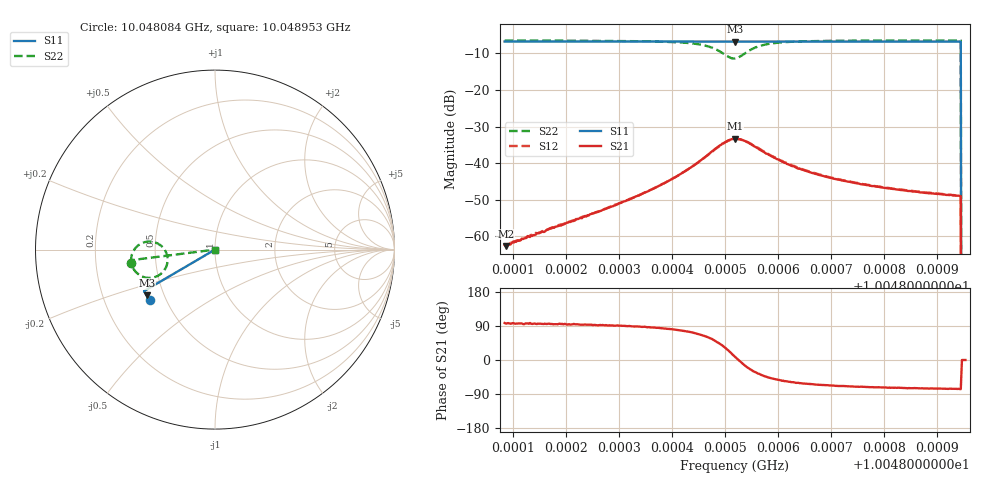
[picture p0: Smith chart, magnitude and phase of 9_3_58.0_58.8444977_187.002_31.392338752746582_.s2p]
#  HZ  S  RI  R  50.00
! Rohde & Schwarz Vector Network Analyzer
! Rohde-Schwarz,ZNB20-2Port,1311601062101988,3.16
! Created: UTC 3/21/2024, 12:50:43 AM
! freq[Hz]  re:S11  im:S11  re:S21  im:S21  re:S12  im:S12  re:S22  im:S22
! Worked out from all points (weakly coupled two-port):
!   401 points, 10.048084 GHz to 10.048953 GHz, reference 50 ohm
!   highest |S21| = -33.36 dB at 10.048519 GHz (marker M1); lowest = -62.6 dB at 10.048086 GHz (marker M2)
!   lowest |S11| = -6.8 dB at 10.048519 GHz (marker M3), VSWR 2.68, Z = 20.1 - j12.9 ohm
!   |S11| at or under -10 dB: 10.048945 GHz to end of sweep
!   |S22| runs from - to -6.5 dB; largest |S21 - S12| = 0.0021
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1.00480838e10  -0.3648 -0.2792  -0.000102 0.000753  -0.000127 0.000722  -0.4675 -0.0733
1.0048086e10  -0.3651 -0.2792  -7.92e-05 0.000734  -0.000132 0.000755  -0.4676 -0.073
1.00481034e10  -0.3657 -0.2784  -8.49e-05 0.000849  -0.000134 0.000846  -0.4676 -0.0712
1.00482294e10  -0.3706 -0.2713  -0.000105 0.00176  -0.00024 0.00182  -0.4676 -0.0535
1.00483055e10  -0.3735 -0.2668  -8.42e-06 0.00293  -0.00018 0.00291  -0.4654 -0.0381
1.00483751e10  -0.376 -0.2628  0.000458 0.00487  0.000173 0.0049  -0.4584 -0.0158
1.00484099e10  -0.3772 -0.2606  0.00124 0.00655  0.000873 0.00663  -0.4487 0.00168
1.00484425e10  -0.3784 -0.2585  0.00308 0.00897  0.00249 0.00914  -0.4276 0.0237
1.00484642e10  -0.379 -0.257  0.00587 0.011  0.0052 0.0113  -0.3984 0.0394
1.00484816e10  -0.3791 -0.2559  0.0101 0.012  0.00919 0.0126  -0.3588 0.0449
1.00485033e10  -0.379 -0.2547  0.0176 0.00943  0.0166 0.0106  -0.2913 0.0129
1.00485185e10  -0.379 -0.2544  0.0212 0.00312  0.0208 0.00488  -0.2642 -0.0489
1.00485316e10  -0.3793 -0.2545  0.0206 -0.00281  0.0207 -0.00105  -0.2769 -0.1061
1.00485446e10  -0.3802 -0.2542  0.0175 -0.00714  0.0182 -0.00566  -0.3116 -0.1424
1.0048575e10  -0.3819 -0.2528  0.0101 -0.00957  0.011 -0.00877  -0.3859 -0.1559
1.00486142e10  -0.3838 -0.2506  0.00565 -0.0083  0.00635 -0.00799  -0.4299 -0.1351
1.00486642e10  -0.3858 -0.2476  0.00324 -0.00658  0.00366 -0.00649  -0.4508 -0.1124
1.00487228e10  -0.388 -0.2442  0.00211 -0.00536  0.00243 -0.0053  -0.4604 -0.0946
1.00488098e10  -0.3909 -0.2391  0.00134 -0.00432  0.00162 -0.00426  -0.4667 -0.0773
1.00489402e10  -0.3953 -0.2315  0.00086 -0.00347  0.00102 -0.00343  -0.4706 -0.0599
1.00489511e10  0 0  0 0  0 0  0 0
1.00489532e10  0 0  0 0  0 0  0 0
